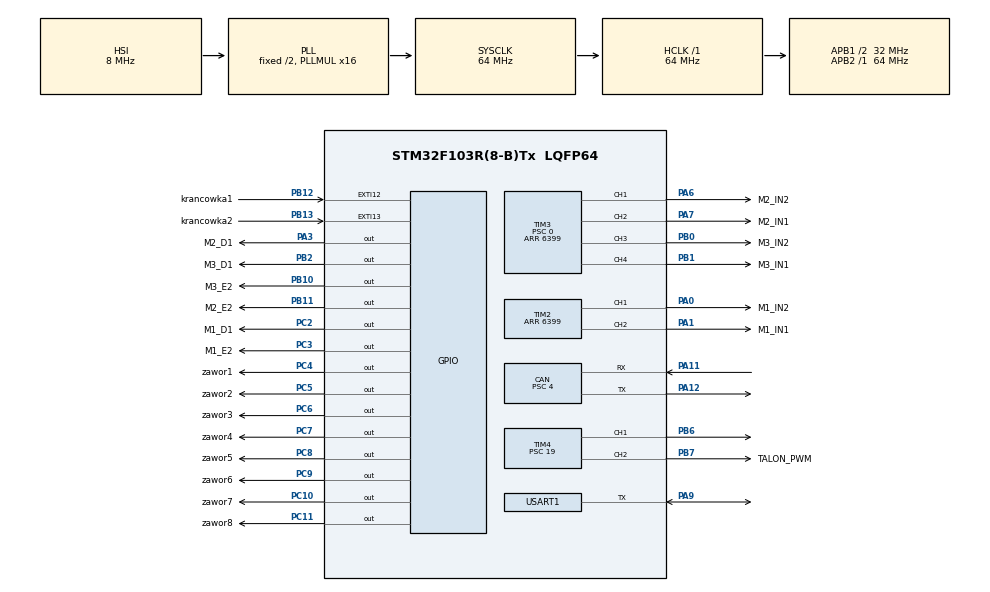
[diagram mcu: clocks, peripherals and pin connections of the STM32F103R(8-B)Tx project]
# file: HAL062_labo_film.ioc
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CAN.BS1=CAN_BS1_13TQ
CAN.BS2=CAN_BS2_2TQ
CAN.CalculateBaudRate=500000
CAN.CalculateTimeBit=2000
CAN.CalculateTimeQuantum=125.0
CAN.Prescaler=4
Mcu.Family=STM32F1
Mcu.Name=STM32F103R(8-B)Tx
Mcu.Package=LQFP64
NVIC.CAN1_RX1_IRQn=true\:0\:0\:false\:false\:true\:true\:true\:true
NVIC.CAN1_SCE_IRQn=true\:0\:0\:false\:false\:true\:true\:true\:true
NVIC.EXTI15_10_IRQn=true\:0\:0\:false\:false\:true\:true\:true\:true
NVIC.PriorityGroup=NVIC_PRIORITYGROUP_4
NVIC.USB_HP_CAN1_TX_IRQn=true\:0\:0\:false\:false\:true\:true\:true\:true
NVIC.USB_LP_CAN1_RX0_IRQn=true\:0\:0\:false\:false\:true\:true\:true\:true
PA0-WKUP.GPIO_Label=M1_IN2
PA0-WKUP.Signal=S_TIM2_CH1_ETR
PA1.GPIO_Label=M1_IN1
PA1.Signal=S_TIM2_CH2
PA11.Mode=CAN_Activate
PA11.Signal=CAN_RX
PA12.Mode=CAN_Activate
PA12.Signal=CAN_TX
PA13.Mode=Serial_Wire
PA13.Signal=SYS_JTMS-SWDIO
PA14.Mode=Serial_Wire
PA14.Signal=SYS_JTCK-SWCLK
PA3.GPIO_Label=M2_D1
PA3.Signal=GPIO_Output
PA6.GPIO_Label=M2_IN2
PA6.Signal=S_TIM3_CH1
PA7.GPIO_Label=M2_IN1
PA7.Signal=S_TIM3_CH2
PA9.Mode=Half_duplex(single_wire_mode)
PA9.Signal=USART1_TX
PB0.GPIO_Label=M3_IN2
PB0.Signal=S_TIM3_CH3
PB1.GPIO_Label=M3_IN1
PB1.Signal=S_TIM3_CH4
PB10.GPIO_Label=M3_E2
PB10.Signal=GPIO_Output
PB11.GPIO_Label=M2_E2
PB11.Signal=GPIO_Output
PB12.GPIO_Label=krancowka1
PB12.GPIO_ModeDefaultEXTI=GPIO_MODE_IT_FALLING
PB12.GPIO_PuPd=GPIO_PULLDOWN
PB12.Signal=GPXTI12
PB13.GPIO_Label=krancowka2
PB13.GPIO_ModeDefaultEXTI=GPIO_MODE_IT_FALLING
PB13.GPIO_PuPd=GPIO_PULLDOWN
PB13.Signal=GPXTI13
PB2.GPIO_Label=M3_D1
PB2.Signal=GPIO_Output
PB6.Signal=S_TIM4_CH1
PB7.GPIO_Label=TALON_PWM
PB7.Signal=S_TIM4_CH2
PC10.GPIO_Label=zawor7
PC10.Signal=GPIO_Output
PC11.GPIO_Label=zawor8
PC11.Signal=GPIO_Output
PC2.GPIO_Label=M1_D1
PC2.Signal=GPIO_Output
PC3.GPIO_Label=M1_E2
PC3.PinState=GPIO_PIN_SET
PC3.Signal=GPIO_Output
PC4.GPIO_Label=zawor1
PC4.Signal=GPIO_Output
PC5.GPIO_Label=zawor2
PC5.Signal=GPIO_Output
PC6.GPIO_Label=zawor3
PC6.Signal=GPIO_Output
PC7.GPIO_Label=zawor4
PC7.Signal=GPIO_Output
PC8.GPIO_Label=zawor5
PC8.Signal=GPIO_Output
PC9.GPIO_Label=zawor6
PC9.Signal=GPIO_Output
ProjectManager.HeapSize=0x200
ProjectManager.StackSize=0x400
ProjectManager.TargetToolchain=STM32CubeIDE
RCC.AHBFreq_Value=64000000
RCC.APB1CLKDivider=RCC_HCLK_DIV2
RCC.APB1Freq_Value=32000000
RCC.APB1TimFreq_Value=64000000
RCC.APB2Freq_Value=64000000
RCC.APB2TimFreq_Value=64000000
RCC.HCLKFreq_Value=64000000
RCC.PLLMUL=RCC_PLL_MUL16
RCC.SYSCLKFreq_VALUE=64000000
RCC.SYSCLKSource=RCC_SYSCLKSOURCE_PLLCLK
RCC.USBFreq_Value=64000000
SH.S_TIM2_CH1_ETR.0=TIM2_CH1,PWM Generation1 CH1
SH.S_TIM2_CH2.0=TIM2_CH2,PWM Generation2 CH2
SH.S_TIM3_CH1.0=TIM3_CH1,PWM Generation1 CH1
SH.S_TIM3_CH2.0=TIM3_CH2,PWM Generation2 CH2
SH.S_TIM3_CH3.0=TIM3_CH3,PWM Generation3 CH3
SH.S_TIM3_CH4.0=TIM3_CH4,PWM Generation4 CH4
SH.S_TIM4_CH1.0=TIM4_CH1,PWM Generation1 CH1
SH.S_TIM4_CH2.0=TIM4_CH2,PWM Generation2 CH2
TIM2.Channel-PWM\ Generation1\ CH1=TIM_CHANNEL_1
TIM2.Channel-PWM\ Generation2\ CH2=TIM_CHANNEL_2
TIM2.Period=6399
TIM3.Channel-PWM\ Generation1\ CH1=TIM_CHANNEL_1
TIM3.Channel-PWM\ Generation2\ CH2=TIM_CHANNEL_2
TIM3.Channel-PWM\ Generation3\ CH3=TIM_CHANNEL_3
TIM3.Channel-PWM\ Generation4\ CH4=TIM_CHANNEL_4
TIM3.Period=6399
TIM3.Prescaler=0
TIM4.Channel-PWM\ Generation1\ CH1=TIM_CHANNEL_1
TIM4.Channel-PWM\ Generation2\ CH2=TIM_CHANNEL_2
TIM4.Period=63999
TIM4.Prescaler=19
USART1.BaudRate=1000000
USART1.VirtualMode=VM_ASYNC
VP_TIM2_VS_ClockSourceINT.Mode=Internal
VP_TIM3_VS_ClockSourceINT.Mode=Internal
VP_TIM4_VS_ClockSourceINT.Mode=Internal
board=custom

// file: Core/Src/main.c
/* USER CODE BEGIN Header */
/**
  ******************************************************************************
  * @file           : main.c
  * @brief          : Main program body
  ******************************************************************************
  * @attention
  *
  * Copyright (c) 2026 STMicroelectronics.
  * All rights reserved.
  *
  * This software is licensed under terms that can be found in the LICENSE file
  * in the root directory of this software component.
  * If no LICENSE file comes with this software, it is provided AS-IS.
  *
  ******************************************************************************
  */
/* USER CODE END Header */
#include "main.h"
#include "can.h"
#include "tim.h"
#include "usart.h"
#include "gpio.h"

/* USER CODE BEGIN Includes */
#include "ax12.h"
#include "MC34931.h"
/* USER CODE END Includes */

/* USER CODE BEGIN PD */
#define ID1 0x1e
#define ID2 0x13
uint16_t pos = 0;
uint16_t duty1 = 0;
/* USER CODE END PD */

void SystemClock_Config(void);

int main(void)
{

  /* MCU Configuration--------------------------------------------------------*/

  /* Reset of all peripherals, Initializes the Flash interface and the Systick. */
  HAL_Init();

  /* Configure the system clock */
  SystemClock_Config();

  /* Initialize all configured peripherals */
  MX_GPIO_Init();
  MX_USART1_UART_Init();
  MX_TIM4_Init();
  MX_TIM3_Init();
  MX_TIM2_Init();
  MX_CAN_Init();
  /* USER CODE BEGIN 2 */
  HAL_TIM_Base_Start_IT(&htim3);
  HAL_TIM_Base_Start_IT(&htim4);
  HAL_TIM_PWM_Start(&htim4, TIM_CHANNEL_2);
  //__HAL_TIM_SET_COMPARE(&htim4, TIM_CHANNEL_2, 4800);
  //dynamixel config
  	AX12_SetMode_Joint(0xFE);
    HAL_Delay(100);

    uint8_t torque_params[2] = {0x18, 0x01}; // Adres 0x18, Dane 0x01
    AX12_SendPacket(0xFE, 0x03, torque_params, 2); // Instrukcja WRITE_DATA (0x03)
    //__HAL_TIM_SET_COMPARE(&htim4, TIM_CHANNEL_2, 6300);
    HAL_Delay(100);

    //mc34931 config
    Motor_Init_Structs();

    Motor_Init_Hardware(&Motor1);
    Motor_Init_Hardware(&Motor2);
    Motor_Init_Hardware(&Motor3);
  /* USER CODE END 2 */

  /* Infinite loop */
  /* USER CODE BEGIN WHILE */

  HAL_Delay(100);
  AX12_Wheel_Move(0xFE, 100);
  HAL_GPIO_WritePin(GPIOC, zawor1_Pin, GPIO_PIN_SET);
  HAL_GPIO_WritePin(GPIOC, zawor2_Pin, GPIO_PIN_SET);
  HAL_GPIO_WritePin(GPIOC, zawor3_Pin, GPIO_PIN_SET);
  HAL_GPIO_WritePin(GPIOC, zawor4_Pin, GPIO_PIN_SET);
  HAL_GPIO_WritePin(GPIOC, zawor5_Pin, GPIO_PIN_SET);
  HAL_GPIO_WritePin(GPIOC, zawor6_Pin, GPIO_PIN_SET);
  HAL_GPIO_WritePin(GPIOC, zawor7_Pin, GPIO_PIN_SET);
  HAL_GPIO_WritePin(GPIOC, zawor8_Pin, GPIO_PIN_SET);
  while (1)
  {
	  __HAL_TIM_SET_COMPARE(&htim4, TIM_CHANNEL_2, 6300);
	  //AX12_SetGoalPosition(0xFE, pos);
	  //Motor_SetSpeed(&Motor2, DIR_CCW, duty1);	  HAL_Delay(1000);
	/*  // 3. Ruch testowy
	        AX12_SetGoalPosition(0xFE, pos);

	        pos += 200;
	        if (pos > 1000) pos = 0;

	        // Mignięcie LED serwa dla potwierdzenia
	        AX12_SetLED(0xFE, (pos > 500) ? 1 : 0);

	        HAL_Delay(1000);*/
    /* USER CODE END WHILE */

  }
}

void SystemClock_Config(void)
{
  RCC_OscInitTypeDef RCC_OscInitStruct = {0};
  RCC_ClkInitTypeDef RCC_ClkInitStruct = {0};

  /** Initializes the RCC Oscillators according to the specified parameters
  * in the RCC_OscInitTypeDef structure.
  */
  RCC_OscInitStruct.OscillatorType = RCC_OSCILLATORTYPE_HSI;
  RCC_OscInitStruct.HSIState = RCC_HSI_ON;
  RCC_OscInitStruct.HSICalibrationValue = RCC_HSICALIBRATION_DEFAULT;
  RCC_OscInitStruct.PLL.PLLState = RCC_PLL_ON;
  RCC_OscInitStruct.PLL.PLLSource = RCC_PLLSOURCE_HSI_DIV2;
  RCC_OscInitStruct.PLL.PLLMUL = RCC_PLL_MUL16;
  if (HAL_RCC_OscConfig(&RCC_OscInitStruct) != HAL_OK)
  {
    Error_Handler();
  }

  /** Initializes the CPU, AHB and APB buses clocks
  */
  RCC_ClkInitStruct.ClockType = RCC_CLOCKTYPE_HCLK|RCC_CLOCKTYPE_SYSCLK
                              |RCC_CLOCKTYPE_PCLK1|RCC_CLOCKTYPE_PCLK2;
  RCC_ClkInitStruct.SYSCLKSource = RCC_SYSCLKSOURCE_PLLCLK;
  RCC_ClkInitStruct.AHBCLKDivider = RCC_SYSCLK_DIV1;
  RCC_ClkInitStruct.APB1CLKDivider = RCC_HCLK_DIV2;
  RCC_ClkInitStruct.APB2CLKDivider = RCC_HCLK_DIV1;

  if (HAL_RCC_ClockConfig(&RCC_ClkInitStruct, FLASH_LATENCY_2) != HAL_OK)
  {
    Error_Handler();
  }
}

void Error_Handler(void)
{
  __disable_irq();
  while (1)
  {
  }
}
